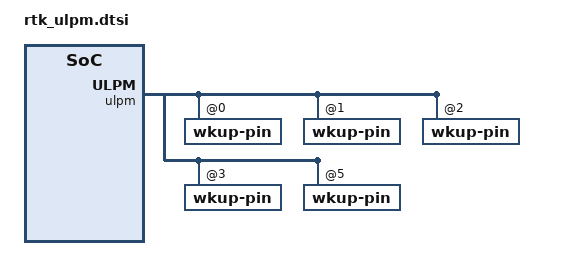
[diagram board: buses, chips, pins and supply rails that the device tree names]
/* Copyright 2025 The ChromiumOS Authors
 * Use of this source code is governed by a BSD-style license that can be
 * found in the LICENSE file.
 */

&ulpm {
	status = "okay";

	/* lid: (gpioh 0) */
	wkup-pin@0 {
		reg = <0x0>;
		wkup-pin-pol = "rising";
		wkup-pin-mode = "vin";
	};

	wkup-pin@1 {
		reg = <0x1>;
		wkup-pin-pol = "falling";
		wkup-pin-mode = "gpio";
	};

	wkup-pin@2 {
		reg = <0x2>;
		wkup-pin-pol = "falling";
		wkup-pin-mode = "gpio";
	};

	/* power button (gpioh 3) */
	wkup-pin@3 {
		reg = <0x3>;
		wkup-pin-pol = "falling";
		wkup-pin-mode = "vin";
	};

	/* ac (gpioh 5) */
	wkup-pin@5 {
		reg = <0x5>;
		wkup-pin-pol = "rising";
		wkup-pin-mode = "vin";
	};
};
